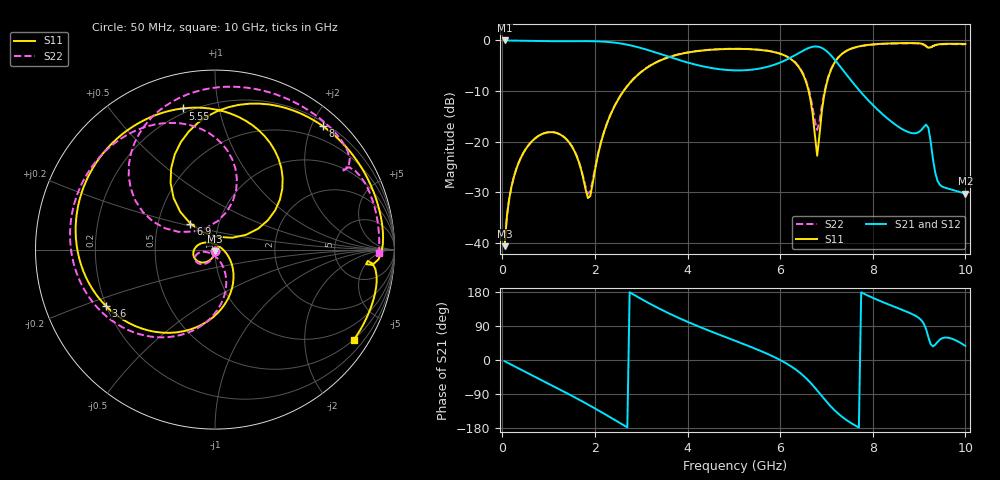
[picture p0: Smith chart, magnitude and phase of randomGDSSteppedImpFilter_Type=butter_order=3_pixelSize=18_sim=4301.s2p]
! freq	dB(S11)	phase(S11)	dB(S12)	phase(S12)
!  dB(S21)	phase(S21)	dB(S22)	phase(S22)
!S-par simulation data
#  GHz  S  DB  R 50
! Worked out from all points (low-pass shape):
!   200 points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, 50 MHz to 10 GHz, reference 50 ohm
!   highest |S21| = -0.01 dB at 50 MHz (marker M1); lowest = -30.3 dB at 10 GHz (marker M2)
!   |S21| within 3 dB of the highest: start of sweep to 3.521 GHz; 6.304 GHz to 7.103 GHz (799.2 MHz wide, 11.9 % of centre)
!   lowest |S11| = -40.7 dB at 50 MHz (marker M3), VSWR 1.02, Z = 49.9 - j0.925 ohm
!   |S11| at or under -10 dB: start of sweep to 2.62 GHz; 6.614 GHz to 6.97 GHz (355.8 MHz wide, 5.24 % of centre)
!   |S22| runs from -40.6 to -0.6 dB; largest |S21 - S12| = 0
!   S11 on the Smith chart (normalised r, x): 50 MHz: 1.00, -0.02; 3.6 GHz: 0.20, -0.24; 5.55 GHz: 0.17, +0.78; 6.9 GHz: 0.73, +0.22; 8 GHz: 0.26, +2.17; 10 GHz: 0.49, -3.29
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0.05  -40.66 -92.7  -0.01 -3.2  -0.01 -3.2  -40.64 -92.2
0.25  -26.98 -107.0  -0.03 -15.8  -0.03 -15.8  -26.97 -104.4
0.7  -19.42 -138.5  -0.10 -44.0  -0.10 -44.0  -19.41 -130.5
1.35  -19.23 173.6  -0.15 -84.7  -0.15 -84.7  -19.21 -163.7
1.75  -27.34 120.1  -0.14 -110.7  -0.14 -110.7  -27.06 -160.3
1.9  -30.73 37.7  -0.15 -120.9  -0.15 -120.9  -29.85 -102.1
2.55  -10.96 -75.1  -0.60 -167.0  -0.60 -167.0  -10.90 -81.4
3.4  -4.01 -139.5  -2.64 135.0  -2.64 135.0  -3.97 -132.0
3.6  -3.31 -152.5  -3.24 122.9  -3.24 122.9  -3.27 -142.9
4.3  -2.02 167.3  -5.06 85.4  -5.06 85.4  -1.98 -176.6
5.05  -1.67 128.9  -5.92 49.6  -5.92 49.6  -1.64 151.5
5.55  -1.86 103.0  -5.57 25.4  -5.57 25.4  -1.83 130.0
6.3  -4.20 54.9  -3.03 -21.9  -3.03 -21.9  -4.12 89.6
6.7  -14.35 25.5  -1.26 -66.0  -1.26 -66.0  -13.16 72.8
6.8  -22.79 79.1  -1.21 -80.3  -1.21 -80.3  -17.69 112.6
6.9  -13.99 133.5  -1.48 -95.2  -1.48 -95.2  -12.95 153.9
7.4  -2.23 88.7  -6.38 -155.7  -6.38 -155.7  -2.24 123.1
8  -0.79 48.9  -12.75 164.1  -12.75 164.1  -0.83 86.5
8.35  -0.60 31.4  -15.67 146.2  -15.67 146.2  -0.65 69.6
9.15  -1.10 -5.6  -16.64 81.8  -16.64 81.8  -1.17 31.7
9.4  -0.80 -9.2  -27.79 47.8  -27.79 47.8  -0.85 26.9
10  -0.70 -33.1  -30.26 37.1  -30.26 37.1  -0.78 -1.0
